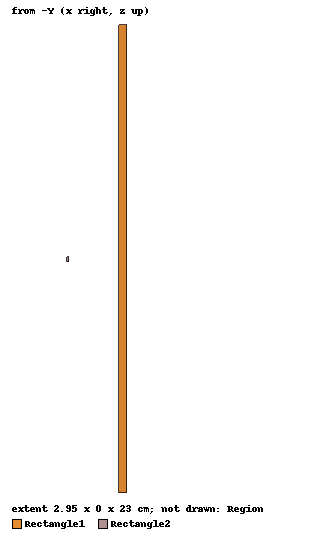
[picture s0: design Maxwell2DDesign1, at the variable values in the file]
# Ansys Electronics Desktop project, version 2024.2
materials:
  vacuum: permittivity=1
  copper: permeability=0.999991 conductivity=58000000
  air: permittivity=1.0006 permeability=1.0000004

design Maxwell2DDesign1 (Maxwell 2D, Transient, about Z geometry, model units cm)
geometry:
  Rectangle1 [copper] = rectangle(corner=(2.7cm, 0cm, -11.5cm), z_size=23cm, x_size=0.4cm)
  Region [air] = region(percentage_offset: +X=100, -X=100, +Y=0, -Y=0, +Z=100, -Z=100)
  Rectangle2 [copper] = rectangle(corner=(0.15cm, 0cm, -0.125cm), z_size=0.25cm, x_size=0.1cm)
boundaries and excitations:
  Balloon1: Balloon Edges=Region.edge(at (3.025, 0, 34.5), at (6.05, 0, 0), at (3.025, 0, -34.5))
  Symmetry1: Symmetry Edges=Region.edge(at (0, 0, 0)) IsOdd=true
  Rectangle1: Coil Objects=Rectangle1 Conductor_number=1860 Winding=Winding1 PolarityType=Positive
  Rectangle2: Coil Objects=Rectangle2 Conductor_number=500 Winding=Winding2 PolarityType=Positive
  Winding1: Winding Group Type=External IsSolid=false Current=0mA ParallelBranchesNum=1
  Winding2: Winding Group Type=External IsSolid=false Current=0mA ParallelBranchesNum=1
  eddy effects on: Rectangle1
  external circuit: "* Design: Project3_ckt\"
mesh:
  Length1: LengthBased Objects=Rectangle1 MaxLength=1cm
  initial mesh: GlobalSurfApproximation{CurvedSurfaceApproxChoice=UseSlider SliderMeshSettings=7}
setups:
  Setup1: Transient NonlinearSolverResidual=0.0001 StopTime=100ms TimeStep=1ms InitialTimeStep=0.002s MinTimeStep=0.001s MaxTimeStep=0.003s TimeStepErrTolerance=0.0001
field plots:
  Mag_H1: H over Region on Setup1 : Transient at Time=100ms
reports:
  Winding Plot 1: InducedVoltage(Winding2) vs Time on Setup1 : Transient

design Project3_ckt (Maxwell Circuit)
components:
  Winding_2 = Winding(Name=Winding1)
  VSin_3 = VSin(Va=50V VFreq=50)
  Res_5 = Res()
  Ammeter_6 = Ammeter()
  Winding_9 = Winding(Name=Winding2)
  Res_10 = Res(R=1000000ohm)
  Voltmeter_11 = Voltmeter()
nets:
  0: VSin_3.1, Ammeter_6.1, Winding_9.0, Res_10.0, Voltmeter_11.1
  net_1: VSin_3.0, Res_5.0
  net_2: Winding_2.0, Res_5.1
  net_3: Winding_2.1, Ammeter_6.0
  net_5: Winding_9.1, Res_10.1, Voltmeter_11.0
